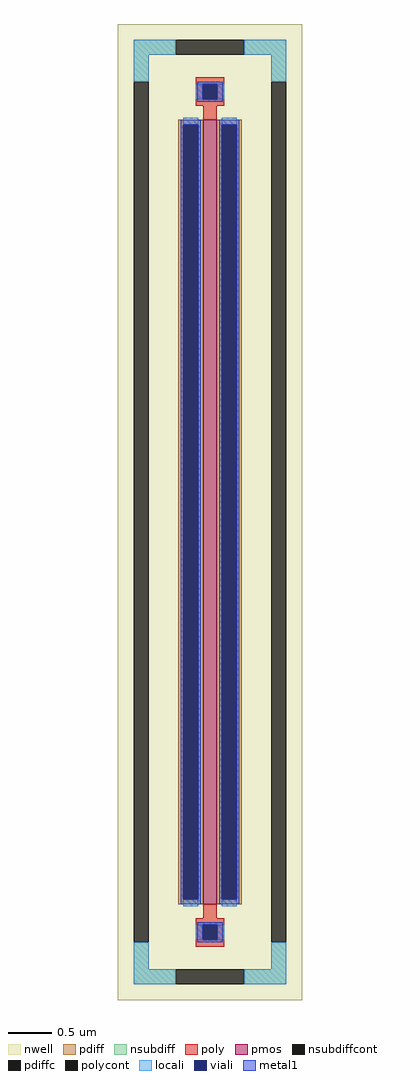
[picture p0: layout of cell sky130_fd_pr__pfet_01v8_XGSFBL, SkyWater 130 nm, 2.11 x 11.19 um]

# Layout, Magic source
magic
tech sky130A
magscale 1 2
<< nwell >>
rect -211 -1119 211 1119
<< pmos >>
rect -15 -900 15 900
<< pdiff >>
rect -73 888 -15 900
rect -73 -888 -61 888
rect -27 -888 -15 888
rect -73 -900 -15 -888
rect 15 888 73 900
rect 15 -888 27 888
rect 61 -888 73 888
rect 15 -900 73 -888
<< pdiffc >>
rect -61 -888 -27 888
rect 27 -888 61 888
<< nsubdiff >>
rect -175 1049 -79 1083
rect 79 1049 175 1083
rect -175 987 -141 1049
rect 141 987 175 1049
rect -175 -1049 -141 -987
rect 141 -1049 175 -987
rect -175 -1083 -79 -1049
rect 79 -1083 175 -1049
<< nsubdiffcont >>
rect -79 1049 79 1083
rect -175 -987 -141 987
rect 141 -987 175 987
rect -79 -1083 79 -1049
<< poly >>
rect -33 981 33 997
rect -33 947 -17 981
rect 17 947 33 981
rect -33 931 33 947
rect -15 900 15 931
rect -15 -931 15 -900
rect -33 -947 33 -931
rect -33 -981 -17 -947
rect 17 -981 33 -947
rect -33 -997 33 -981
<< polycont >>
rect -17 947 17 981
rect -17 -981 17 -947
<< locali >>
rect -175 1049 -79 1083
rect 79 1049 175 1083
rect -175 987 -141 1049
rect 141 987 175 1049
rect -33 947 -17 981
rect 17 947 33 981
rect -61 888 -27 904
rect -61 -904 -27 -888
rect 27 888 61 904
rect 27 -904 61 -888
rect -33 -981 -17 -947
rect 17 -981 33 -947
rect -175 -1049 -141 -987
rect 141 -1049 175 -987
rect -175 -1083 -79 -1049
rect 79 -1083 175 -1049
<< viali >>
rect -17 947 17 981
rect -61 -888 -27 888
rect 27 -888 61 888
rect -17 -981 17 -947
<< metal1 >>
rect -29 981 29 987
rect -29 947 -17 981
rect 17 947 29 981
rect -29 941 29 947
rect -67 888 -21 900
rect -67 -888 -61 888
rect -27 -888 -21 888
rect -67 -900 -21 -888
rect 21 888 67 900
rect 21 -888 27 888
rect 61 -888 67 888
rect 21 -900 67 -888
rect -29 -947 29 -941
rect -29 -981 -17 -947
rect 17 -981 29 -947
rect -29 -987 29 -981
<< properties >>
string FIXED_BBOX -158 -1066 158 1066
string gencell sky130_fd_pr__pfet_01v8
string library sky130
string parameters w 9.0 l 0.15 m 1 nf 1 diffcov 100 polycov 100 guard 1 glc 1 grc 1 gtc 1 gbc 1 tbcov 100 rlcov 100 topc 1 botc 1 poverlap 0 doverlap 1 lmin 0.15 wmin 0.42 compatible {sky130_fd_pr__pfet_01v8  sky130_fd_pr__pfet_01v8_lvt sky130_fd_pr__pfet_01v8_hvt  sky130_fd_pr__pfet_g5v0d10v5} full_metal 1 viasrc 100 viadrn 100 viagate 100 viagb 0 viagr 0 viagl 0 viagt 0
<< end >>
